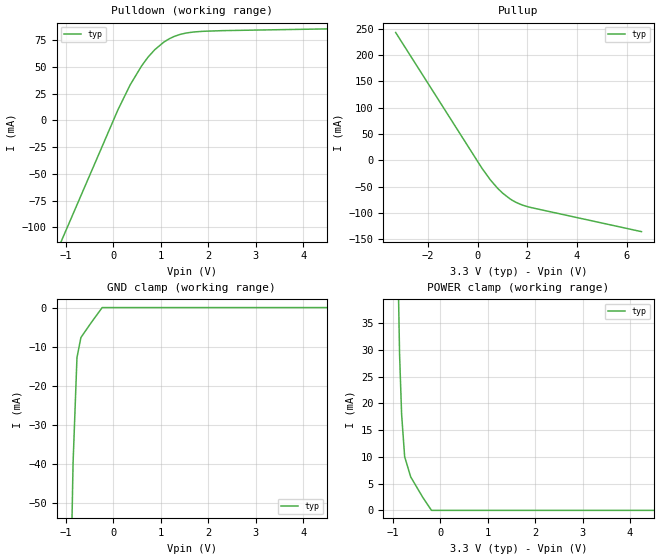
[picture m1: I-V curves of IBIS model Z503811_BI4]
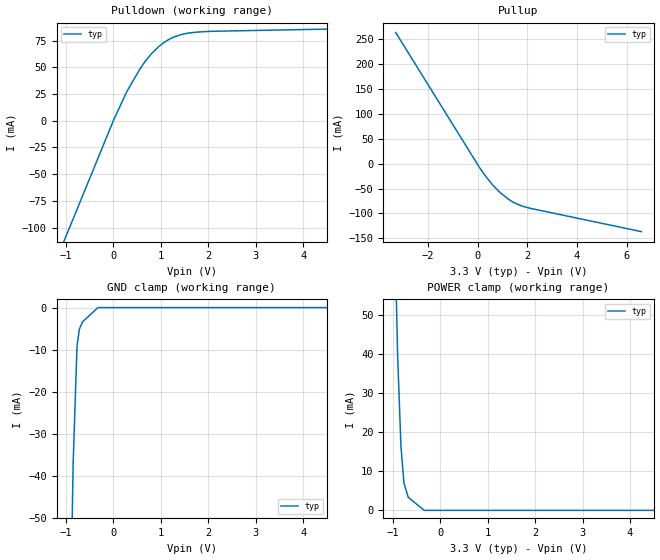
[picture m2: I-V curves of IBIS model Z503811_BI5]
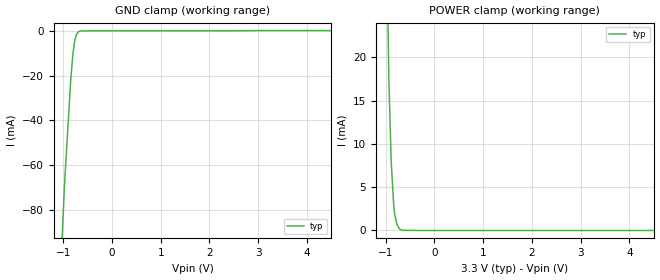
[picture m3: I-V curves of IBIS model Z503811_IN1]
| YOU ARE ONLY AUTHORIZED TO USE THIS SOFTWARE
| ACCORDING TO LICENSOR'S LICENSE RESTRICTIONS.
[IBIS Ver] 3.1
[File Name] mc74ac652dw_33.ibs
[File Rev] 2.0
[Source] Measured and created by ICX Technology
[Date] Friday 7/14/00 9:08:00 AM
[Copyright]
| (C) COPYRIGHT 1993-2000
| MENTOR GRAPHICS CORPORATION
| ICX STANDARD LIBRARY, ICX PROJECT MODELING,
| ICX CUSTOM MODELING, ICX VENDOR MODEL
| ALL RIGHTS RESERVED.
| THE FOLLOWING ARE TRADEMARKS OR SERVICE MARKS OF
| MENTOR GRAPHICS CORPORATION:ICX (R), ICX STANDARD
| LIBRARY(R), ICX PROJECT MODELING(R), ICX CUSTOM
| MODELING(R), qualityIBIS(TM), MODELVIEWER(TM),
| AND MODELEDITOR(TM)
| ALL COPIES OF SOFTWARE, INCLUDING BUT NOT LIMITED TO
| ANY MODIFICATIONS, ENHANCEMENTS OR DERIVATIVE WORKS,
| MUST CONTAIN ALL MENTOR GRAPHICS CORPORATION'S
| NOTICES AND LEGENDS, INCLUDING THOSE EMBEDDED IN
| SOFTWARE AND THOSE AFFIXED TO SOFTWARE MEDIUM
| AND CONTAINER, AS RECEIVED FROM MENTOR GRAPHICS
| CORPORATION.
|  ZAP Model Builder 2.7
[Component] MC74AC652DW_33
[Manufacturer] OnSemiconductor
[Package]
| variable   typ   min   max
R_pkg  .18ohms NA NA
L_pkg  4.67nH NA NA
C_pkg  .637pF NA NA
[Pin] signal_name  model_name  R_pin  L_pin C_pin
1 CPAB Z503811_IN1 .19 5.862n .712p
2 SAB Z503811_IN2 .186 5.372n .682p
3 OEAB Z503811_IN3 .182 4.892n .652p
4 A0 Z503811_BI4 .178 4.422n .622p
5 A1 Z503811_BI4 .174 3.962n .592p
6 A2 Z503811_BI4 .17 3.512n .562p
7 A3 Z503811_BI4 .17 3.512n .562p
8 A4 Z503811_BI4 .174 3.962n .592p
9 A5 Z503811_BI4 .178 4.422n .622p
10 A6 Z503811_BI4 .182 4.892n .652p
11 A7 Z503811_BI4 .186 5.372n .682p
12 GND GND .19 5.862n .712p
13 B7 Z503811_BI5 .19 5.862n .712p
14 B6 Z503811_BI5 .186 5.372n .682p
15 B5 Z503811_BI5 .182 4.892n .652p
16 B4 Z503811_BI5 .178 4.422n .622p
17 B3 Z503811_BI5 .174 3.962n .592p
18 B2 Z503811_BI5 .17 3.512n .562p
19 B1 Z503811_BI5 .17 3.512n .562p
20 B0 Z503811_BI5 .174 3.962n .592p
21 _OEBA Z503811_IN6 .178 4.422n .622p
22 SBA Z503811_IN2 .182 4.892n .652p
23 CPBA Z503811_IN1 .186 5.372n .682p
24 VCC POWER .19 5.862n .712p
| Models and submodels in the file (6): Z503811_BI4 (I/O), Z503811_BI5 (I/O), Z503811_IN1 (Input), Z503811_IN2 (Input), Z503811_IN3 (Input), Z503811_IN6 (Input)
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| (C) COPYRIGHT 1993-2000
| MENTOR GRAPHICS CORPORATION
| ICX STANDARD LIBRARY, ICX PROJECT MODELING,
| ICX CUSTOM MODELING, ICX VENDOR MODEL
| ALL RIGHTS RESERVED.
| THE FOLLOWING ARE TRADEMARKS OR SERVICE MARKS OF
| MENTOR GRAPHICS CORPORATION:ICX (R), ICX STANDARD
| LIBRARY(R), ICX PROJECT MODELING(R), ICX CUSTOM
| MODELING(R), qualityIBIS(TM), MODELVIEWER(TM),
| AND MODELEDITOR(TM)
| ALL COPIES OF SOFTWARE, INCLUDING BUT NOT LIMITED TO
| ANY MODIFICATIONS, ENHANCEMENTS OR DERIVATIVE WORKS,
| MUST CONTAIN ALL MENTOR GRAPHICS CORPORATION'S
| NOTICES AND LEGENDS, INCLUDING THOSE EMBEDDED IN
| SOFTWARE AND THOSE AFFIXED TO SOFTWARE MEDIUM
| AND CONTAINER, AS RECEIVED FROM MENTOR GRAPHICS
| CORPORATION.
| Model Application Version 1.89 2/18/99.
[Model] Z503811_BI4
Model_type I/O
Vinl=990.0mV
Vinh=2.310V
Vref=0.000V
Rref=500.0ohms
Cref=50.00pF
Vmeas=1.650V
C_comp 8.000pF NA NA
| variable typ   min   max
[Voltage Range] 3.300V NA NA
[POWER Clamp Reference] 3.300V NA NA
[Pullup Reference] 3.300V NA NA
[Pulldown Reference] 0.000V NA NA
[GND Clamp Reference] 0.000V NA NA
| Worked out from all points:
|   slope of the pulldown table from 0 to 0.495 V, typ, clamps not added: 11.4 ohm
|   slope of the pullup table from 0 to 0.495 V, typ, clamps not added: 14.6 ohm
|   GND clamp passes 1 mA (typ) near -0.30 V on its own axis
|   POWER clamp passes 1 mA (typ) near -0.26 V on its own axis
[GND Clamp]
-3.3V     -1.624A    NA         NA
-851.6mV  -39.86mA   NA         NA
-769mV    -12.78mA   NA         NA
-685.9mV  -7.661mA   NA         NA
-474.5mV  -3.943mA   NA         NA
-237.3mV  0A         NA         NA
6.6V      0A         NA         NA
[Pulldown]
-3.3V     -339mA     NA         NA
96.28mV   9.951mA    NA         NA
353mV     33.14mA    NA         NA
591.9mV   50.69mA    NA         NA
723.2mV   58.67mA    NA         NA
870.9mV   65.93mA    NA         NA
1.065V    73.14mA    NA         NA
1.279V    78.28mA    NA         NA
1.538V    81.56mA    NA         NA
1.891V    83.12mA    NA         NA
6.6V      86.91mA    NA         NA
[Pullup]
-3.3V     243mA      NA         NA
180mV     -15.34mA   NA         NA
517mV     -37.33mA   NA         NA
1.007V    -62.3mA    NA         NA
1.412V    -76.38mA   NA         NA
1.668V    -82.42mA   NA         NA
2.037V    -88.35mA   NA         NA
6.6V      -135.5mA   NA         NA
[POWER Clamp]
-3.3V     1.231A     NA         NA
-859mV    29.15mA    NA         NA
-816mV    17.96mA    NA         NA
-752mV    10.03mA    NA         NA
-625mV    6.261mA    NA         NA
-372mV    2.456mA    NA         NA
-186mV    0A         NA         NA
6.6V      0A         NA         NA
[Ramp]
| variable typ min max
dV/dt_r 1.944/537.8p NA NA
dV/dt_f 1.944/630.1p NA NA
R_load = 500.0Ohms
| (C) COPYRIGHT 1993-2000
| MENTOR GRAPHICS CORPORATION
| ICX STANDARD LIBRARY, ICX PROJECT MODELING,
| ICX CUSTOM MODELING, ICX VENDOR MODEL
| ALL RIGHTS RESERVED.
| THE FOLLOWING ARE TRADEMARKS OR SERVICE MARKS OF
| MENTOR GRAPHICS CORPORATION:ICX (R), ICX STANDARD
| LIBRARY(R), ICX PROJECT MODELING(R), ICX CUSTOM
| MODELING(R), qualityIBIS(TM), MODELVIEWER(TM),
| AND MODELEDITOR(TM)
| ALL COPIES OF SOFTWARE, INCLUDING BUT NOT LIMITED TO
| ANY MODIFICATIONS, ENHANCEMENTS OR DERIVATIVE WORKS,
| MUST CONTAIN ALL MENTOR GRAPHICS CORPORATION'S
| NOTICES AND LEGENDS, INCLUDING THOSE EMBEDDED IN
| SOFTWARE AND THOSE AFFIXED TO SOFTWARE MEDIUM
| AND CONTAINER, AS RECEIVED FROM MENTOR GRAPHICS
| CORPORATION.
| Model Application Version 1.89 2/18/99.
[Model] Z503811_BI5
Model_type I/O
Vinl=990.0mV
Vinh=2.310V
Vref=0.000V
Rref=500.0ohms
Cref=50.00pF
Vmeas=1.650V
C_comp 8.000pF NA NA
| variable typ   min   max
[Voltage Range] 3.300V NA NA
[POWER Clamp Reference] 3.300V NA NA
[Pullup Reference] 3.300V NA NA
[Pulldown Reference] 0.000V NA NA
[GND Clamp Reference] 0.000V NA NA
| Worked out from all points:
|   slope of the pulldown table from 0 to 0.495 V, typ, clamps not added: 11.4 ohm
|   slope of the pullup table from 0 to 0.495 V, typ, clamps not added: 14.4 ohm
[GND Clamp]
-3.3V     -1.664A    NA         NA
-849.8mV  -37.01mA   NA         NA
-768.2mV  -9.182mA   NA         NA
-719.3mV  -5.148mA   NA         NA
-651mV    -3.367mA   NA         NA
-325.5mV  0A         NA         NA
6.6V      0A         NA         NA
[Pulldown]
-3.3V     -357.3mA   NA         NA
7.362mV   959uA      NA         NA
277.9mV   26.88mA    NA         NA
556.6mV   48.34mA    NA         NA
665.4mV   55.36mA    NA         NA
798mV     62.52mA    NA         NA
951.9mV   69.25mA    NA         NA
1.066V    73.22mA    NA         NA
1.279V    78.42mA    NA         NA
1.577V    81.99mA    NA         NA
2.091V    83.72mA    NA         NA
6.6V      87.5mA     NA         NA
[Pullup]
-3.3V     263.1mA    NA         NA
90mV      -8.9mA     NA         NA
608mV     -43.01mA   NA         NA
914mV     -58.43mA   NA         NA
1.354V    -74.99mA   NA         NA
1.625V    -81.91mA   NA         NA
1.979V    -87.9mA    NA         NA
6.6V      -136.5mA   NA         NA
[POWER Clamp]
-3.3V     1.37A      NA         NA
-901mV    39.98mA    NA         NA
-830mV    16.42mA    NA         NA
-767mV    7.026mA    NA         NA
-677mV    3.357mA    NA         NA
-338.5mV  0A         NA         NA
6.6V      0A         NA         NA
[Ramp]
| variable typ min max
dV/dt_r 1.945/530.0p NA NA
dV/dt_f 1.945/638.4p NA NA
R_load = 500.0Ohms
| (C) COPYRIGHT 1993-2000
| MENTOR GRAPHICS CORPORATION
| ICX STANDARD LIBRARY, ICX PROJECT MODELING,
| ICX CUSTOM MODELING, ICX VENDOR MODEL
| ALL RIGHTS RESERVED.
| THE FOLLOWING ARE TRADEMARKS OR SERVICE MARKS OF
| MENTOR GRAPHICS CORPORATION:ICX (R), ICX STANDARD
| LIBRARY(R), ICX PROJECT MODELING(R), ICX CUSTOM
| MODELING(R), qualityIBIS(TM), MODELVIEWER(TM),
| AND MODELEDITOR(TM)
| ALL COPIES OF SOFTWARE, INCLUDING BUT NOT LIMITED TO
| ANY MODIFICATIONS, ENHANCEMENTS OR DERIVATIVE WORKS,
| MUST CONTAIN ALL MENTOR GRAPHICS CORPORATION'S
| NOTICES AND LEGENDS, INCLUDING THOSE EMBEDDED IN
| SOFTWARE AND THOSE AFFIXED TO SOFTWARE MEDIUM
| AND CONTAINER, AS RECEIVED FROM MENTOR GRAPHICS
| CORPORATION.
| Model Application Version 1.89 2/18/99.
[Model] Z503811_IN1
Model_type Input
Vinl = 990.0mV
Vinh = 2.310V
C_comp 4.000pF NA NA
| variable typ   min   max
[Voltage Range] 3.300V NA NA
[GND Clamp Reference] 0.000V NA NA
[POWER Clamp Reference] 3.300V NA NA
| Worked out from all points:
|   GND clamp passes 1 mA (typ) near -0.71 V on its own axis
|   POWER clamp passes 1 mA (typ) near -0.78 V on its own axis
[GND Clamp]
-3.3V     -1.572A    NA         NA
-1.041V   -100.9mA   NA         NA
-974.2mV  -68.58mA   NA         NA
-845.2mV  -21.32mA   NA         NA
-799mV    -9.767mA   NA         NA
-766.1mV  -4.592mA   NA         NA
-730.6mV  -1.652mA   NA         NA
-687.1mV  -397.6uA   NA         NA
-647.5mV  -47.92uA   NA         NA
-323.7mV  29uA       NA         NA
6.6V      119.2uA    NA         NA
[POWER Clamp]
-3.3V     1.949A     NA         NA
-1.153V   134.4mA    NA         NA
-1.037V   57.52mA    NA         NA
-938mV    17.77mA    NA         NA
-890mV    8.122mA    NA         NA
-837mV    2.918mA    NA         NA
-819mV    1.939mA    NA         NA
-775mV    775.2uA    NA         NA
-718mV    169.8uA    NA         NA
-660mV    19.8uA     NA         NA
-330mV    0A         NA         NA
6.6V      0A         NA         NA
